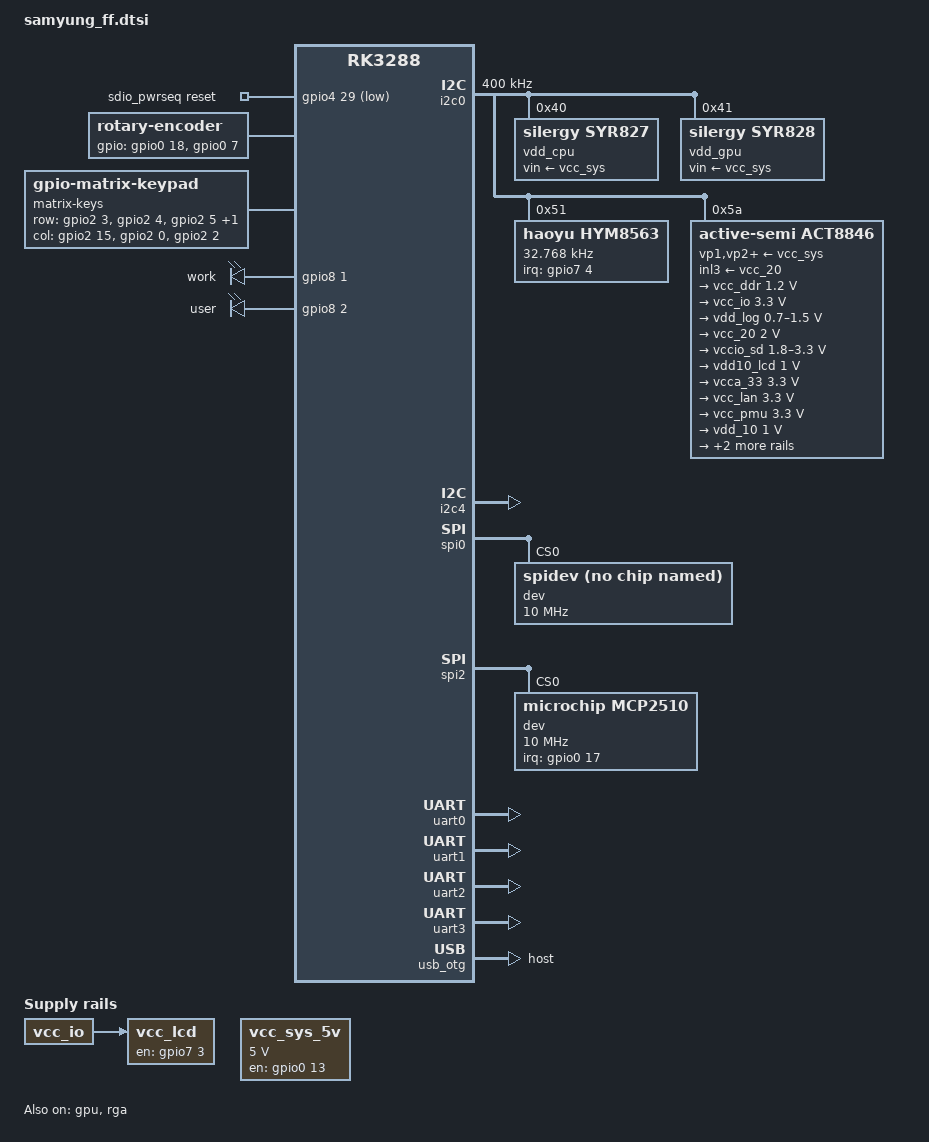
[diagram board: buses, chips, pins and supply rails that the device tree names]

#include "rk3288-firefly-port.dtsi"
#include "rk3288-linux.dtsi"
#include <dt-bindings/sensor-dev.h>
#include <dt-bindings/input/input.h>



/ {
	compatible = "rockchip,rk3288-firefly", "rockchip,rk3288";

	sdio_pwrseq: sdio-pwrseq {
		status = "okay";
		compatible = "mmc-pwrseq-simple";
		clocks = <&hym8563>;
		clock-names = "ext_clock";
		pinctrl-names = "default";
		pinctrl-0 = <&wifi_enable_h>;

		/*
		 * On the module itself this is one of these (depending
		 * on the actual card populated):
		 * - SDIO_RESET_L_WL_REG_ON
		 * - PDN (power down when low)
		 */
		//reset-gpios = <&gpio4 29 GPIO_ACTIVE_HIGH>;   //set to high, cannot find sdio card
		reset-gpios = <&gpio4 29 GPIO_ACTIVE_LOW>;
	};

	vcc_sys_5v: vcc-sys-5v{
		compatible = "regulator-fixed";
		enable-active-high;
		gpio = <&gpio0 13 GPIO_ACTIVE_HIGH>;
		pinctrl-names = "default";
		pinctrl-0 = <&pwr5v_en>;
		regulator-name = "vcc_sys_5v";
		regulator-min-microvolt = <5000000>;
		regulator-max-microvolt = <5000000>;
		regulator-always-on;
		regulator-boot-on;
	};

	vcc_lcd: vcc-lcd {
		compatible = "regulator-fixed";
		enable-active-high;
		gpio = <&gpio7 3 GPIO_ACTIVE_HIGH>;
		pinctrl-names = "default";
		pinctrl-0 = <&lcd_en>;
		regulator-name = "vcc_lcd";
		regulator-boot-on;
		vin-supply = <&vcc_io>;
	};

	gpio-keys {
		status = "disabled";
		compatible = "gpio-keys";
		#address-cells = <1>;
		#size-cells = <0>;

		button@0 {
			gpios = <&gpio0 7 GPIO_ACTIVE_HIGH>, <&gpio0 18 GPIO_ACTIVE_HIGH>;
			linux,code = <KEY_A>;
			linux,code_cw = <KEY_FORWARD>;
			linux,code_ccw = <KEY_BACK>;
			knob-key;
			label = "GPIO Key Power";
			linux,input-type = <1>;
			debounce-interval = <0>;
		};
	};

	rotary {
		status = "okay";
		compatible = "rotary-encoder";
		pinctrl-names = "default";
		pinctrl-0 = <&rotary_gpio>;
		gpios = <&gpio0		18	GPIO_ACTIVE_HIGH>,
				<&gpio0		7	GPIO_ACTIVE_HIGH>;
		linux,axis = <REL_WHEEL>; /* REL_WHEEL*/
		rotary-encoder,relative-axis;
		rotary-encoder,steps = <24>;
		rotary-encoder,steps-per-period = <2>;  /*halr period mode*/
	};

	matrix-keys {
		compatible = "gpio-matrix-keypad";

		row-gpios = <&gpio2 3 GPIO_ACTIVE_HIGH>,
					<&gpio2 4 GPIO_ACTIVE_HIGH>,
					<&gpio2 5 GPIO_ACTIVE_HIGH>,
					<&gpio2 6 GPIO_ACTIVE_HIGH>;
		col-gpios = <&gpio2 15 GPIO_ACTIVE_HIGH>,
					<&gpio2 0 GPIO_ACTIVE_HIGH>,
					<&gpio2 2 GPIO_ACTIVE_HIGH>;
		debounce-delay-ms = <20>;
		col-scan-delay-us = <100>;

		linux,keymap = <MATRIX_KEY(0, 0, KEY_MENU)
						MATRIX_KEY(0, 1, KEY_UP)
						MATRIX_KEY(1, 0, KEY_LEFTSHIFT)
						MATRIX_KEY(1, 1, KEY_LEFT)
						MATRIX_KEY(2, 0, KEY_PAGEDOWN)
						MATRIX_KEY(2, 1, KEY_DOWN)
						MATRIX_KEY(3, 0, KEY_TAB)
						MATRIX_KEY(3, 1, KEY_RIGHT)
						MATRIX_KEY(3, 2, KEY_ENTER)>;
	};

	leds {
		compatible = "gpio-leds";

		work {
			gpios = <&gpio8 1 GPIO_ACTIVE_HIGH>;
			default-state = "on";
		};

		user {
			gpios = <&gpio8 2 GPIO_ACTIVE_HIGH>;
			default-state = "off";
		};
	};
};

&cpu0 {
	cpu0-supply = <&vdd_cpu>;
};

&dfi {
	status = "disabled";
};

&dmc {
	center-supply = <&vdd_log>;
	status = "disabled";
};

&gpu {
	status = "okay";
	mali-supply = <&vdd_gpu>;
};

&i2c0 {
	clock-frequency = <400000>;

	vdd_cpu: syr827@40 {
		compatible = "silergy,syr827";
		fcs,suspend-voltage-selector = <1>;
		reg = <0x40>;
		regulator-name = "vdd_cpu";
		regulator-min-microvolt = <850000>;
		regulator-max-microvolt = <1350000>;
		regulator-always-on;
		regulator-boot-on;
		regulator-enable-ramp-delay = <300>;
		regulator-ramp-delay = <8000>;
		vin-supply = <&vcc_sys>;
		regulator-state-mem {
			regulator-off-in-suspend;
		};
	};

	vdd_gpu: syr828@41 {
		compatible = "silergy,syr828";
		fcs,suspend-voltage-selector = <1>;
		reg = <0x41>;
		regulator-name = "vdd_gpu";
		regulator-min-microvolt = <850000>;
		regulator-max-microvolt = <1350000>;
		regulator-always-on;
		regulator-ramp-delay = <6000>;
		vin-supply = <&vcc_sys>;
		regulator-state-mem {
			regulator-off-in-suspend;
		};
	};

	hym8563: hym8563@51 {
		compatible = "haoyu,hym8563";
		reg = <0x51>;
		interrupt-parent = <&gpio7>;
		interrupts = <4 IRQ_TYPE_EDGE_FALLING>;
		#clock-cells = <0>;
		clock-frequency = <32768>;
		clock-output-names = "xin32k";
		pinctrl-names = "default";
		pinctrl-0 = <&rtc_int>;
	};

	act8846: act8846@5a {
		compatible = "active-semi,act8846";
		reg = <0x5a>;
		pinctrl-names = "default";
		pinctrl-0 = <&pmic_vsel>, <&pwr_hold>;
		system-power-controller;

		vp1-supply = <&vcc_sys>;
		vp2-supply = <&vcc_sys>;
		vp3-supply = <&vcc_sys>;
		vp4-supply = <&vcc_sys>;
		inl1-supply = <&vcc_sys>;
		inl2-supply = <&vcc_sys>;
		inl3-supply = <&vcc_20>;

		regulators {
			vcc_ddr: REG1 {
				regulator-name = "vcc_ddr";
				regulator-min-microvolt = <1200000>;
				regulator-max-microvolt = <1200000>;
				regulator-always-on;
			};

			vcc_io: REG2 {
				regulator-name = "vcc_io";
				regulator-min-microvolt = <3300000>;
				regulator-max-microvolt = <3300000>;
				regulator-always-on;
			};

			vdd_log: REG3 {
				regulator-name = "vdd_log";
				regulator-min-microvolt = <700000>;
				regulator-max-microvolt = <1500000>;
				regulator-always-on;
			};

			vcc_20: REG4 {
				regulator-name = "vcc_20";
				regulator-min-microvolt = <2000000>;
				regulator-max-microvolt = <2000000>;
				regulator-always-on;
			};

			vccio_sd: REG5 {
				regulator-name = "vccio_sd";
				regulator-min-microvolt = <1800000>;
				regulator-max-microvolt = <3300000>;
				regulator-always-on;
			};

			vdd10_lcd: REG6 {
				regulator-name = "vdd10_lcd";
				regulator-min-microvolt = <1000000>;
				regulator-max-microvolt = <1000000>;
				regulator-always-on;
			};

			vcca_33: REG7 {
				regulator-name = "vcca_33";
				regulator-min-microvolt = <3300000>;
				regulator-max-microvolt = <3300000>;
				regulator-always-on;
			};

			vcc_lan: REG8 {
				regulator-name = "vcc_lan";
				regulator-min-microvolt = <3300000>;
				regulator-max-microvolt = <3300000>;
				regulator-always-on;
				regulator-boot-on;
			};

			vcc_pmu: REG9 {
				regulator-name = "vcc_pmu";
				regulator-min-microvolt = <3300000>;
				regulator-max-microvolt = <3300000>;
				regulator-always-on;
			};

			vdd_10: REG10 {
				regulator-name = "vdd_10";
				regulator-min-microvolt = <1000000>;
				regulator-max-microvolt = <1000000>;
				regulator-always-on;
			};

			vcc_18: REG11 {
				regulator-name = "vcc_18";
				regulator-min-microvolt = <1800000>;
				regulator-max-microvolt = <1800000>;
				regulator-always-on;
			};

			vcc18_lcd: REG12 {
				regulator-name = "vcc18_lcd";
				regulator-min-microvolt = <1800000>;
				regulator-max-microvolt = <1800000>;
				regulator-always-on;
			};
		};
	};
};

&i2c4 {
	status = "okay";
};

&rga {
	status = "okay";
};

&sound {
	status = "okay";

	/delete-node/ simple-audio-card,dai-link@1;

	simple-audio-card,dai-link@0 {
		format = "i2s";
		cpu {
			sound-dai = <&i2s>;
		};

		codec {
			sound-dai = <&hdmi>;
		};
	};
};

&es8323 {
	status = "disabled";
};

&spi0 {
	status = "okay";
	dev@0 {
		compatible = "rockchip,spidev";
		spi-max-frequency = <10000000>;
		reg = <0>;
	};
};

&spi2 {
	status = "okay";
	dev@0 {
		//compatible = "rockchip,spidev";
		compatible = "microchip,mcp2510";
		interrupt-parent = <&gpio0>;
		interrupts = <17 IRQ_TYPE_EDGE_FALLING>;
		spi-max-frequency = <10000000>;
		reg = <0>;
	};
/*
	dev@1 {
		compatible = "microchip,mcp2510";
		spi-max-frequency = <10000000>;
		interrupt-parent = <&gpio0>;
		interrupts = <17 IRQ_TYPE_EDGE_FALLING>;
		reg = <1>;
	};

	dev@2 {
		compatible = "microchip,mcp2515";
		spi-max-frequency = <10000000>;
		interrupt-parent = <&gpio0>;
		interrupts = <17 IRQ_TYPE_EDGE_FALLING>;
		reg = <2>;
	};
*/
};

/*
&fiq_debugger {
	status = "disabled";
};
*/

&uart0 {
	status = "okay";
};

&uart1 {
	status = "okay";
};

&uart2 {
	status = "okay";
};

&uart3 {
	status = "okay";
};

&usb_otg {
	status = "okay";
	dr_mode = "host";
};

&pinctrl {
	act8846 {
		pmic_vsel: pmic-vsel {
			rockchip,pins = <7 14 RK_FUNC_GPIO &pcfg_output_low>;
		};

		pwr_hold: pwr-hold {
			rockchip,pins = <0 6 RK_FUNC_GPIO &pcfg_output_high>;
		};
	};

	buttons {
		pwrbtn: pwrbtn {
			rockchip,pins = <0 5 RK_FUNC_GPIO &pcfg_pull_up>;
		};
	};

	lcd {
		lcd_en: lcd-en  {
			rockchip,pins = <1 25 RK_FUNC_GPIO &pcfg_pull_none>;
		};
	};

	encoder {
		rotary_gpio: rotary-gpio {
			rockchip,pins = <0 7 RK_FUNC_GPIO &pcfg_pull_none>,
							<0 18 RK_FUNC_GPIO &pcfg_pull_none>;
		};
	};

	vcc-sys {
		pwr5v_en: pwr5v-en {
			rockchip,pins = <0 13 RK_FUNC_GPIO &pcfg_output_high>;
		};
	};
};
